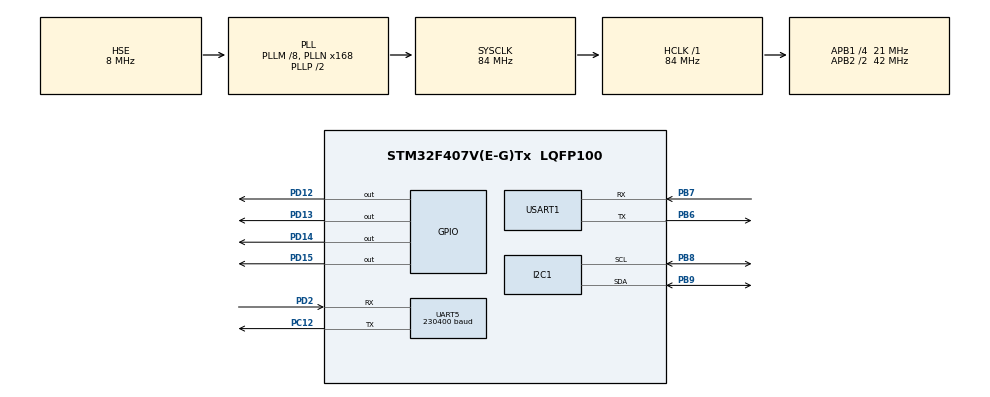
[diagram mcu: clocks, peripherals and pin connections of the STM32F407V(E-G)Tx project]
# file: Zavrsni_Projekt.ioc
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Dma.I2C1_RX.4.Direction=DMA_PERIPH_TO_MEMORY
Dma.I2C1_RX.4.FIFOMode=DMA_FIFOMODE_DISABLE
Dma.I2C1_RX.4.Instance=DMA1_Stream5
Dma.I2C1_RX.4.MemDataAlignment=DMA_MDATAALIGN_BYTE
Dma.I2C1_RX.4.MemInc=DMA_MINC_ENABLE
Dma.I2C1_RX.4.Mode=DMA_NORMAL
Dma.I2C1_RX.4.PeriphDataAlignment=DMA_PDATAALIGN_BYTE
Dma.I2C1_RX.4.PeriphInc=DMA_PINC_DISABLE
Dma.I2C1_RX.4.Priority=DMA_PRIORITY_LOW
Dma.I2C1_TX.5.Direction=DMA_MEMORY_TO_PERIPH
Dma.I2C1_TX.5.FIFOMode=DMA_FIFOMODE_DISABLE
Dma.I2C1_TX.5.Instance=DMA1_Stream6
Dma.I2C1_TX.5.MemDataAlignment=DMA_MDATAALIGN_BYTE
Dma.I2C1_TX.5.MemInc=DMA_MINC_ENABLE
Dma.I2C1_TX.5.Mode=DMA_NORMAL
Dma.I2C1_TX.5.PeriphDataAlignment=DMA_PDATAALIGN_BYTE
Dma.I2C1_TX.5.PeriphInc=DMA_PINC_DISABLE
Dma.I2C1_TX.5.Priority=DMA_PRIORITY_LOW
Dma.Request0=USART1_RX
Dma.Request1=USART1_TX
Dma.Request2=UART5_RX
Dma.Request3=UART5_TX
Dma.Request4=I2C1_RX
Dma.Request5=I2C1_TX
Dma.UART5_RX.2.Direction=DMA_PERIPH_TO_MEMORY
Dma.UART5_RX.2.FIFOMode=DMA_FIFOMODE_DISABLE
Dma.UART5_RX.2.Instance=DMA1_Stream0
Dma.UART5_RX.2.MemDataAlignment=DMA_MDATAALIGN_BYTE
Dma.UART5_RX.2.MemInc=DMA_MINC_ENABLE
Dma.UART5_RX.2.Mode=DMA_CIRCULAR
Dma.UART5_RX.2.PeriphDataAlignment=DMA_PDATAALIGN_BYTE
Dma.UART5_RX.2.PeriphInc=DMA_PINC_DISABLE
Dma.UART5_RX.2.Priority=DMA_PRIORITY_MEDIUM
Dma.UART5_TX.3.Direction=DMA_MEMORY_TO_PERIPH
Dma.UART5_TX.3.FIFOMode=DMA_FIFOMODE_DISABLE
Dma.UART5_TX.3.Instance=DMA1_Stream7
Dma.UART5_TX.3.MemDataAlignment=DMA_MDATAALIGN_BYTE
Dma.UART5_TX.3.MemInc=DMA_MINC_ENABLE
Dma.UART5_TX.3.Mode=DMA_NORMAL
Dma.UART5_TX.3.PeriphDataAlignment=DMA_PDATAALIGN_BYTE
Dma.UART5_TX.3.PeriphInc=DMA_PINC_DISABLE
Dma.UART5_TX.3.Priority=DMA_PRIORITY_MEDIUM
Dma.USART1_RX.0.Direction=DMA_PERIPH_TO_MEMORY
Dma.USART1_RX.0.FIFOMode=DMA_FIFOMODE_DISABLE
Dma.USART1_RX.0.Instance=DMA2_Stream2
Dma.USART1_RX.0.MemDataAlignment=DMA_MDATAALIGN_BYTE
Dma.USART1_RX.0.MemInc=DMA_MINC_ENABLE
Dma.USART1_RX.0.Mode=DMA_CIRCULAR
Dma.USART1_RX.0.PeriphDataAlignment=DMA_PDATAALIGN_BYTE
Dma.USART1_RX.0.PeriphInc=DMA_PINC_DISABLE
Dma.USART1_RX.0.Priority=DMA_PRIORITY_VERY_HIGH
Dma.USART1_TX.1.Direction=DMA_MEMORY_TO_PERIPH
Dma.USART1_TX.1.FIFOMode=DMA_FIFOMODE_DISABLE
Dma.USART1_TX.1.Instance=DMA2_Stream7
Dma.USART1_TX.1.MemDataAlignment=DMA_MDATAALIGN_BYTE
Dma.USART1_TX.1.MemInc=DMA_MINC_ENABLE
Dma.USART1_TX.1.Mode=DMA_NORMAL
Dma.USART1_TX.1.PeriphDataAlignment=DMA_PDATAALIGN_BYTE
Dma.USART1_TX.1.PeriphInc=DMA_PINC_DISABLE
Dma.USART1_TX.1.Priority=DMA_PRIORITY_VERY_HIGH
Mcu.Family=STM32F4
Mcu.Name=STM32F407V(E-G)Tx
Mcu.Package=LQFP100
NVIC.DMA1_Stream0_IRQn=true\:0\:0\:false\:false\:true\:false\:true\:true
NVIC.DMA1_Stream5_IRQn=true\:0\:0\:false\:false\:true\:false\:true\:true
NVIC.DMA1_Stream6_IRQn=true\:0\:0\:false\:false\:true\:false\:true\:true
NVIC.DMA1_Stream7_IRQn=true\:0\:0\:false\:false\:true\:false\:true\:true
NVIC.DMA2_Stream2_IRQn=true\:0\:0\:false\:false\:true\:false\:true\:true
NVIC.DMA2_Stream7_IRQn=true\:0\:0\:false\:false\:true\:false\:true\:true
NVIC.I2C1_EV_IRQn=true\:0\:0\:false\:false\:true\:true\:true\:true
NVIC.PriorityGroup=NVIC_PRIORITYGROUP_4
NVIC.TIM2_IRQn=true\:0\:0\:false\:false\:true\:true\:true\:true
NVIC.UART5_IRQn=true\:0\:0\:false\:false\:true\:true\:true\:true
NVIC.USART1_IRQn=true\:0\:0\:false\:false\:true\:true\:true\:true
PA13.Mode=Serial_Wire
PA13.Signal=SYS_JTMS-SWDIO
PA14.Mode=Serial_Wire
PA14.Signal=SYS_JTCK-SWCLK
PB6.GPIO_PuPd=GPIO_NOPULL
PB6.Mode=Asynchronous
PB6.Signal=USART1_TX
PB7.Mode=Asynchronous
PB7.Signal=USART1_RX
PB8.Mode=I2C
PB8.Signal=I2C1_SCL
PB9.Mode=I2C
PB9.Signal=I2C1_SDA
PC12.Mode=Asynchronous
PC12.Signal=UART5_TX
PC14-OSC32_IN.Mode=LSE-External-Oscillator
PC14-OSC32_IN.Signal=RCC_OSC32_IN
PC15-OSC32_OUT.Mode=LSE-External-Oscillator
PC15-OSC32_OUT.Signal=RCC_OSC32_OUT
PD12.Signal=GPIO_Output
PD13.GPIO_PuPd=GPIO_NOPULL
PD13.Signal=GPIO_Output
PD14.Signal=GPIO_Output
PD15.Signal=GPIO_Output
PD2.Mode=Asynchronous
PD2.Signal=UART5_RX
PH0-OSC_IN.Mode=HSE-External-Oscillator
PH0-OSC_IN.Signal=RCC_OSC_IN
PH1-OSC_OUT.Mode=HSE-External-Oscillator
PH1-OSC_OUT.Signal=RCC_OSC_OUT
ProjectManager.HeapSize=0x200
ProjectManager.StackSize=0x400
ProjectManager.TargetToolchain=STM32CubeIDE
RCC.48MHZClocksFreq_Value=42000000
RCC.AHBFreq_Value=84000000
RCC.APB1CLKDivider=RCC_HCLK_DIV4
RCC.APB1Freq_Value=21000000
RCC.APB1TimFreq_Value=42000000
RCC.APB2CLKDivider=RCC_HCLK_DIV2
RCC.APB2Freq_Value=42000000
RCC.APB2TimFreq_Value=84000000
RCC.CortexFreq_Value=84000000
RCC.HCLKFreq_Value=84000000
RCC.HSE_VALUE=8000000
RCC.HSI_VALUE=16000000
RCC.PLLM=8
RCC.PLLN=168
RCC.PLLSourceVirtual=RCC_PLLSOURCE_HSE
RCC.SYSCLKFreq_VALUE=84000000
RCC.SYSCLKSource=RCC_SYSCLKSOURCE_PLLCLK
RCC.VCOOutputFreq_Value=168000000
TIM2.Period=10000-1
TIM2.Prescaler=4200-1
UART5.BaudRate=230400
UART5.VirtualMode=Asynchronous
USART1.VirtualMode=VM_ASYNC
USART1.WordLength=WORDLENGTH_8B
VP_TIM2_VS_ClockSourceINT.Mode=Internal
board=custom

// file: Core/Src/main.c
/* USER CODE BEGIN Header */
/**
  ******************************************************************************
  * @file           : main.c
  * @brief          : Main program body
  ******************************************************************************
  * @attention
  *
  * Copyright (c) 2025 STMicroelectronics.
  * All rights reserved.
  *
  * This software is licensed under terms that can be found in the LICENSE file
  * in the root directory of this software component.
  * If no LICENSE file comes with this software, it is provided AS-IS.
  *
  ******************************************************************************
  */
/* USER CODE END Header */
#include "main.h"
#include "dma.h"
#include "i2c.h"
#include "tim.h"
#include "usart.h"
#include "gpio.h"

/* USER CODE BEGIN Includes */
#include <stdio.h>
#include <string.h>
#include "uart_strings.h"
/* USER CODE END Includes */

/* USER CODE BEGIN PD */
#define RX_BUFFER_CH1_SIZE 256
#define RX_BUFFER_CH2_SIZE 256
#define HAL_NODISPLAY 0
#define HAL_YESDISPLAY 1
#define HAL_PHASE_SETUP 0
#define HAL_PHASE_SENSOR 1
#define HAL_RX_INITIALIZED 0
#define HAL_RX_SETUP_START 1
#define HAL_RX_SENSOR_START 2
#define SENSOR_ADDR 0x70
/* USER CODE END PD */

/* USER CODE BEGIN PV */
char tx_buffer_ch1[RX_BUFFER_CH1_SIZE];
char tx_buffer_ch2[RX_BUFFER_CH2_SIZE];
char rx_buffer_ch1[RX_BUFFER_CH1_SIZE];
char rx_buffer_ch2[RX_BUFFER_CH2_SIZE];
char string_buffer_1[RX_BUFFER_CH1_SIZE];
char string_buffer_2[RX_BUFFER_CH2_SIZE];

volatile uint8_t uart_tx_done = 0;
volatile uint8_t rx_event_usart1 = 0;
volatile uint8_t rx_event_uart5 = 0;
uint8_t setup_flags = 0;
uint8_t display_state = HAL_NODISPLAY;
uint8_t working_phase = HAL_PHASE_SETUP;
uint8_t keyboard_last_tick = 0;
uint8_t error_flag = 0;
uint8_t ok_flag = 1;

float temp, hum;
volatile uint8_t tim_flag = 0;
volatile uint8_t i2c_tx_flag = 0;
volatile uint8_t i2c_rx_flag = 0;
uint8_t tx_buf[2] = { 0x7C, 0xA2 };
uint8_t rx_buf[6];
uint8_t timer_init = 1;

uint16_t rx_event_counter = 0;
uint16_t iteration_counter = 0;
/* USER CODE END PV */

void SystemClock_Config(void);

int main(void)
{

  /* MCU Configuration--------------------------------------------------------*/

  /* Reset of all peripherals, Initializes the Flash interface and the Systick. */
  HAL_Init();

  /* Configure the system clock */
  SystemClock_Config();

  /* Initialize all configured peripherals */
  MX_GPIO_Init();
  MX_DMA_Init();
  MX_USART1_UART_Init();
  MX_UART5_Init();
  MX_I2C1_Init();
  MX_TIM2_Init();
  /* USER CODE BEGIN 2 */

  //Enabling both setup RX channels
  HAL_Send_AT_Message("AT+CIPCLOSE\r\n");
  HAL_Delay(500);
  HAL_UARTEx_ReceiveToIdle_DMA(&huart1, (uint8_t*)rx_buffer_ch1, RX_BUFFER_CH1_SIZE);
  __HAL_DMA_DISABLE_IT(huart1.hdmarx, DMA_IT_HT);
  __HAL_DMA_DISABLE_IT(huart1.hdmarx, DMA_IT_TC);
  HAL_UARTEx_ReceiveToIdle_DMA(&huart5, (uint8_t*)rx_buffer_ch2, RX_BUFFER_CH2_SIZE);
  __HAL_DMA_DISABLE_IT(huart5.hdmarx, DMA_IT_HT);
  __HAL_DMA_DISABLE_IT(huart5.hdmarx, DMA_IT_TC);

  /* USER CODE END 2 */

  /* Infinite loop */
  /* USER CODE BEGIN WHILE */
  while (1)
  {

	  //SETUP PHASE
	  if (working_phase == HAL_PHASE_SETUP) {
			  //USART SETUP RX ENABLE
		  	  HAL_GPIO_WritePin(GPIOD, GPIO_PIN_15, GPIO_PIN_SET); //Setup phase: Blue LED turned on constantly

		  	  //USART RX EVENTS
		  	  if (rx_event_usart1 == 1) {
				  rx_event_usart1 = 0;
				  UART_String_Handling_CH1();
				  LED_Checking();
				  rx_event_counter++;
			  }
			  if (rx_event_uart5 == 1) {
				  rx_event_uart5 = 0;
				  UART_String_Handling_CH2();
			  }
				  //Checking for display connected
			  if (display_state == HAL_NODISPLAY) {
				  if (strstr(string_buffer_2, "DISPLAY") != NULL) {
					HAL_UART_Transmit_DMA(&huart5, "AT+DISPLAYACK", strlen("AT+DISPLAYACK"));
					display_state = HAL_YESDISPLAY;
				  }
			  }
			  //SETUP PHASE IF NO KEYBOARD
			  if (display_state == HAL_NODISPLAY) {
				  if (setup_flags < 4) {
					  iteration_counter++;
					  uint8_t diff = iteration_counter - rx_event_counter;
					  if (diff > 1) {
						  iteration_counter -= diff; //lower iteration count, but don't send anything new
					  }
					  else { //if the difference is 1, send new and increment next send
						  if (error_flag) {
							  error_flag = 0;
							  if (setup_flags > 0) setup_flags--; // avoid underflow
							  ESP32_Initialization_Steps(setup_flags);
							  //setup_flags++;
						  }
						  else if (ok_flag){
							  ok_flag = 0;
							  ESP32_Initialization_Steps(setup_flags++);
						  }
						  else {
							 iteration_counter--;
						  }
					  }
				  }
				  else {
					  working_phase = HAL_PHASE_SENSOR;
				  }
			  }
		  }
	  //SENSOR SENDING DATA PHASE
	  if (working_phase == HAL_PHASE_SENSOR) {
		  if (timer_init) {
			  HAL_GPIO_WritePin(GPIOD, GPIO_PIN_15, GPIO_PIN_RESET);
			  HAL_TIM_Base_Start_IT(&htim2);
			  timer_init = 0;
		  }
		  if (tim_flag) {
			  tim_flag = 0;
			  HAL_GPIO_TogglePin(GPIOD, GPIO_PIN_15);
			  uint8_t cmd[2] = { 0x7C, 0xA2 };  // "Wake + Measure T,F" command for SHTC3
			  HAL_I2C_Master_Transmit_DMA(&hi2c1, SENSOR_ADDR << 1, cmd, 2);
		  }
		  if (i2c_tx_flag) {
			  i2c_tx_flag = 0;
			  HAL_I2C_Master_Receive_DMA(&hi2c1, SENSOR_ADDR << 1 | 0x01, rx_buf, 6);
		  }
		  if (i2c_rx_flag) {
			  i2c_rx_flag = 0;
			  uint16_t raw_temp = (rx_buf[0] << 8) | rx_buf[1];
			  uint16_t raw_hum  = (rx_buf[3] << 8) | rx_buf[4];
			  temp = -45.0 + 175.0 * ((float)raw_temp / 65535.0);
			  hum  = 100.0 * ((float)raw_hum / 65535.0);
			  char sensor_data[64];
			  snprintf(sensor_data, sizeof(sensor_data),"Temperature: %.2f °C, Humidity: %.2f", temp, hum);
			  int msg_len = strlen(sensor_data);
			  char at_command[32];
			  snprintf(at_command, sizeof(at_command), "AT+CIPSEND=%d\r\n", msg_len);
			  HAL_Send_AT_Message(at_command);
			  HAL_Delay(5);
			  HAL_Send_AT_Message(sensor_data);
		  }
		  if (!tim_flag && !rx_event_usart1 && !rx_event_uart5 && !i2c_tx_flag && !i2c_rx_flag) {
		      __WFI();  // Puts the CPU in Sleep mode!
		  }

	  }

    /* USER CODE END WHILE */

  }
}

void SystemClock_Config(void)
{
  RCC_OscInitTypeDef RCC_OscInitStruct = {0};
  RCC_ClkInitTypeDef RCC_ClkInitStruct = {0};

  /** Configure the main internal regulator output voltage
  */
  __HAL_RCC_PWR_CLK_ENABLE();
  __HAL_PWR_VOLTAGESCALING_CONFIG(PWR_REGULATOR_VOLTAGE_SCALE1);

  /** Initializes the RCC Oscillators according to the specified parameters
  * in the RCC_OscInitTypeDef structure.
  */
  RCC_OscInitStruct.OscillatorType = RCC_OSCILLATORTYPE_HSE;
  RCC_OscInitStruct.HSEState = RCC_HSE_ON;
  RCC_OscInitStruct.PLL.PLLState = RCC_PLL_ON;
  RCC_OscInitStruct.PLL.PLLSource = RCC_PLLSOURCE_HSE;
  RCC_OscInitStruct.PLL.PLLM = 8;
  RCC_OscInitStruct.PLL.PLLN = 168;
  RCC_OscInitStruct.PLL.PLLP = RCC_PLLP_DIV2;
  RCC_OscInitStruct.PLL.PLLQ = 4;
  if (HAL_RCC_OscConfig(&RCC_OscInitStruct) != HAL_OK)
  {
    Error_Handler();
  }

  /** Initializes the CPU, AHB and APB buses clocks
  */
  RCC_ClkInitStruct.ClockType = RCC_CLOCKTYPE_HCLK|RCC_CLOCKTYPE_SYSCLK
                              |RCC_CLOCKTYPE_PCLK1|RCC_CLOCKTYPE_PCLK2;
  RCC_ClkInitStruct.SYSCLKSource = RCC_SYSCLKSOURCE_PLLCLK;
  RCC_ClkInitStruct.AHBCLKDivider = RCC_SYSCLK_DIV1;
  RCC_ClkInitStruct.APB1CLKDivider = RCC_HCLK_DIV4;
  RCC_ClkInitStruct.APB2CLKDivider = RCC_HCLK_DIV2;

  if (HAL_RCC_ClockConfig(&RCC_ClkInitStruct, FLASH_LATENCY_2) != HAL_OK)
  {
    Error_Handler();
  }
}

/* USER CODE BEGIN 4 */
void HAL_UART_TxCpltCallback(UART_HandleTypeDef *huart) {
	if (huart->Instance == USART1) {
		uart_tx_done = 1;
		//HAL_GPIO_WritePin(GPIOD, GPIO_PIN_15, 1);
	}
	if (huart->Instance == UART5) {

	}
}

void HAL_UARTEx_RxEventCallback(UART_HandleTypeDef *huart, uint16_t Size) {
	if (huart->Instance == USART1) {
		rx_event_usart1 = 1;
		cnt = Size;
	}
	if (huart->Instance == UART5) {
		rx_event_uart5 = 1;
		cnt_2 = Size;
	}
}
void HAL_I2C_MasterTxCpltCallback(I2C_HandleTypeDef *hi2c) {
    i2c_tx_flag = 1;
}

void HAL_I2C_MasterRxCpltCallback(I2C_HandleTypeDef *hi2c) {
	i2c_rx_flag = 1;
}
void HAL_TIM_PeriodElapsedCallback(TIM_HandleTypeDef *htim) {
	if (htim->Instance == TIM2) {
		tim_flag = 1;
	}
}

void LED_Checking() {
	  if (strstr(string_buffer_1, "OK") != NULL) {
		  HAL_GPIO_WritePin(GPIOD, GPIO_PIN_13, GPIO_PIN_RESET);
		  HAL_GPIO_WritePin(GPIOD, GPIO_PIN_14, GPIO_PIN_RESET);
		  HAL_GPIO_WritePin(GPIOD, GPIO_PIN_12, GPIO_PIN_SET);
		  ok_flag = 1;
	  }
	  else if (strstr(string_buffer_1, "ERROR") != NULL) {
		  HAL_GPIO_WritePin(GPIOD, GPIO_PIN_13, GPIO_PIN_RESET);
		  HAL_GPIO_WritePin(GPIOD, GPIO_PIN_12, GPIO_PIN_RESET);
		  HAL_GPIO_WritePin(GPIOD, GPIO_PIN_14, GPIO_PIN_SET);
		  error_flag = 1;
	  }
	  else {
		  HAL_GPIO_WritePin(GPIOD, GPIO_PIN_13, GPIO_PIN_SET);
		  HAL_GPIO_WritePin(GPIOD, GPIO_PIN_14, GPIO_PIN_RESET);
		  HAL_GPIO_WritePin(GPIOD, GPIO_PIN_12, GPIO_PIN_RESET);
	  }
}

void strip_crlf(char *str) {
    size_t len = strlen(str);
    while (len > 0 && (str[len - 1] == '\r' || str[len - 1] == '\n')) {
        str[--len] = '\0';
    }
}

void HAL_Send_AT_Message(char* buffer) {
	  sprintf(tx_buffer_ch1, buffer);
	  HAL_UART_Transmit_DMA(&huart1, (uint8_t*)tx_buffer_ch1, strlen(tx_buffer_ch1));
}

void ESP32_Initialization_Steps(uint8_t setup_value) {
	  switch (setup_value) {
		case 0:
			HAL_Send_AT_Message("AT\r\n");
			break;
		case 1:
			HAL_Send_AT_Message("AT+CWMODE=1\r\n");
			break;
		case 2:
			HAL_Send_AT_Message("AT+CWJAP=\"A1-Dizdar-24ghz\",\"xbaja888\"\r\n");
			break;
		case 3:
			HAL_Send_AT_Message("AT+CIPSTART=\"TCP\",\"192.168.100.21\",5500\r\n");
			break;
		default:
			break;
	}
}

/* USER CODE END 4 */

void Error_Handler(void)
{
  __disable_irq();
  while (1)
  {
  }
}
